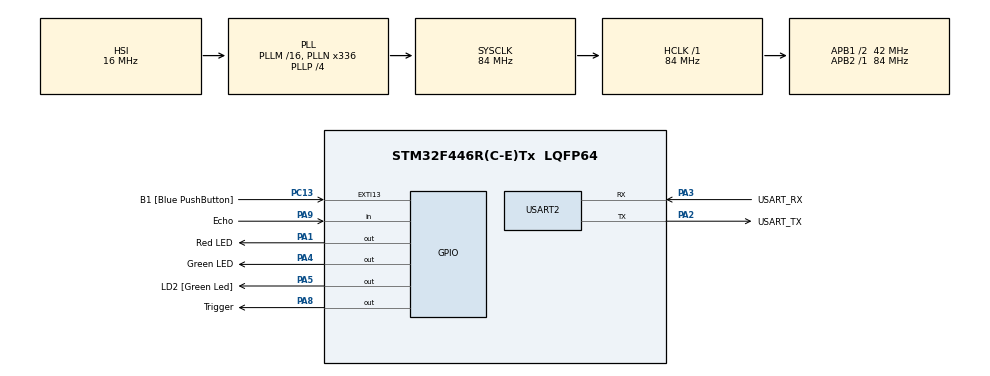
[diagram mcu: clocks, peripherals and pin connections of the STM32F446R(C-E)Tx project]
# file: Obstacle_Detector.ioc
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FREERTOS.Tasks01=defaultTask,24,128,StartDefaultTask,Default,NULL,Dynamic,NULL,NULL
FREERTOS.configUSE_NEWLIB_REENTRANT=1
Mcu.Family=STM32F4
Mcu.Name=STM32F446R(C-E)Tx
Mcu.Package=LQFP64
NVIC.PriorityGroup=NVIC_PRIORITYGROUP_4
NVIC.TIM6_DAC_IRQn=true\:15\:0\:false\:false\:true\:false\:false\:true\:true
NVIC.TimeBase=TIM6_DAC_IRQn
NVIC.TimeBaseIP=TIM6
PA1.GPIO_Label=Red LED
PA1.Signal=GPIO_Output
PA13.GPIO_Label=TMS
PA13.Mode=Serial_Wire
PA13.Signal=SYS_JTMS-SWDIO
PA14.GPIO_Label=TCK
PA14.Mode=Serial_Wire
PA14.Signal=SYS_JTCK-SWCLK
PA2.GPIO_Label=USART_TX
PA2.Mode=Asynchronous
PA2.Signal=USART2_TX
PA3.GPIO_Label=USART_RX
PA3.Mode=Asynchronous
PA3.Signal=USART2_RX
PA4.GPIO_Label=Green LED
PA4.Signal=GPIO_Output
PA5.GPIO_Label=LD2 [Green Led]
PA5.Signal=GPIO_Output
PA8.GPIO_Label=Trigger
PA8.Signal=GPIO_Output
PA9.GPIO_Label=Echo
PA9.Signal=GPIO_Input
PB3.GPIO_Label=SWO
PB3.Signal=SYS_JTDO-SWO
PC13.GPIO_Label=B1 [Blue PushButton]
PC13.GPIO_ModeDefaultEXTI=GPIO_MODE_IT_FALLING
PC13.Signal=GPXTI13
PC14-OSC32_IN.Mode=LSE-External-Oscillator
PC14-OSC32_IN.Signal=RCC_OSC32_IN
PC15-OSC32_OUT.Mode=LSE-External-Oscillator
PC15-OSC32_OUT.Signal=RCC_OSC32_OUT
PH0-OSC_IN.Mode=HSE-External-Oscillator
PH0-OSC_IN.Signal=RCC_OSC_IN
PH1-OSC_OUT.Mode=HSE-External-Oscillator
PH1-OSC_OUT.Signal=RCC_OSC_OUT
ProjectManager.HeapSize=0x200
ProjectManager.StackSize=0x400
ProjectManager.TargetToolchain=STM32CubeIDE
RCC.48MHZClocksFreq_Value=84000000
RCC.AHBFreq_Value=84000000
RCC.APB1CLKDivider=RCC_HCLK_DIV2
RCC.APB1Freq_Value=42000000
RCC.APB1TimFreq_Value=84000000
RCC.APB2Freq_Value=84000000
RCC.APB2TimFreq_Value=84000000
RCC.CortexFreq_Value=84000000
RCC.FLatency-AdvancedSettings=FLASH_LATENCY_2
RCC.HCLKFreq_Value=84000000
RCC.HSE_VALUE=8000000
RCC.HSI_VALUE=16000000
RCC.PLLN=336
RCC.PLLP=RCC_PLLP_DIV4
RCC.SYSCLKFreq_VALUE=84000000
RCC.SYSCLKSource=RCC_SYSCLKSOURCE_PLLCLK
RCC.USBFreq_Value=168000000
RCC.VCOOutputFreq_Value=336000000
USART2.VirtualMode=VM_ASYNC
VP_FREERTOS_VS_CMSIS_V2.Mode=CMSIS_V2
VP_SYS_VS_tim6.Mode=TIM6
board=NUCLEO-F446RE

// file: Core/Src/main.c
/* USER CODE BEGIN Header */
/**
  ******************************************************************************
  * @file           : main.c
  * @brief          : Main program body
  ******************************************************************************
  * @attention
  *
  * Copyright (c) 2024 STMicroelectronics.
  * All rights reserved.
  *
  * This software is licensed under terms that can be found in the LICENSE file
  * in the root directory of this software component.
  * If no LICENSE file comes with this software, it is provided AS-IS.
  *
  ******************************************************************************
  */
/* USER CODE END Header */
#include "main.h"
#include "cmsis_os.h"

/* USER CODE BEGIN Includes */
#include "FreeRTOS.h"
#include "task.h"
#include "queue.h"
/* USER CODE END Includes */

/* USER CODE BEGIN PD */
#define STACK_SIZE 128
/* USER CODE END PD */

UART_HandleTypeDef huart2;
const float preDistance = 0.0343 / 2;
/* Definitions for defaultTask */

void SystemClock_Config(void);
static void MX_GPIO_Init(void);
static void MX_USART2_UART_Init(void);

/* USER CODE BEGIN 0 */
void DWT_Init(void);
void usDelay(uint32_t us);

TaskHandle_t SRFTaskHandler;
void SRF_Task(void* arguments);

TaskHandle_t DataProcessTaskHandler;
void DataProcess_Task(void* arguments);

static QueueHandle_t dataQueue = NULL;
/* USER CODE END 0 */

int main(void)
{

  /* MCU Configuration--------------------------------------------------------*/

  /* Reset of all peripherals, Initializes the Flash interface and the Systick. */
  HAL_Init();

  /* Configure the system clock */
  SystemClock_Config();

  /* Initialize all configured peripherals */
  MX_GPIO_Init();
  MX_USART2_UART_Init();
  DWT_Init();
  /* USER CODE BEGIN 2 */
  dataQueue = xQueueCreate(2,sizeof(float));
  assert_param(dataQueue != NULL);

  xTaskCreate(SRF_Task,"SRF_Task",STACK_SIZE,NULL,1,&SRFTaskHandler);
  xTaskCreate(DataProcess_Task,"DataProcess_Task",STACK_SIZE,NULL,2,&DataProcessTaskHandler);

  vTaskStartScheduler();
  /* USER CODE END 2 */

  /* We should never get here as control is now taken by the scheduler */

  /* Infinite loop */
  while (1)
  {

  }
}

void SystemClock_Config(void)
{
  RCC_OscInitTypeDef RCC_OscInitStruct = {0};
  RCC_ClkInitTypeDef RCC_ClkInitStruct = {0};

  /** Configure the main internal regulator output voltage
  */
  __HAL_RCC_PWR_CLK_ENABLE();
  __HAL_PWR_VOLTAGESCALING_CONFIG(PWR_REGULATOR_VOLTAGE_SCALE3);

  /** Initializes the RCC Oscillators according to the specified parameters
  * in the RCC_OscInitTypeDef structure.
  */
  RCC_OscInitStruct.OscillatorType = RCC_OSCILLATORTYPE_HSI;
  RCC_OscInitStruct.HSIState = RCC_HSI_ON;
  RCC_OscInitStruct.HSICalibrationValue = RCC_HSICALIBRATION_DEFAULT;
  RCC_OscInitStruct.PLL.PLLState = RCC_PLL_ON;
  RCC_OscInitStruct.PLL.PLLSource = RCC_PLLSOURCE_HSI;
  RCC_OscInitStruct.PLL.PLLM = 16;
  RCC_OscInitStruct.PLL.PLLN = 336;
  RCC_OscInitStruct.PLL.PLLP = RCC_PLLP_DIV4;
  RCC_OscInitStruct.PLL.PLLQ = 2;
  RCC_OscInitStruct.PLL.PLLR = 2;
  if (HAL_RCC_OscConfig(&RCC_OscInitStruct) != HAL_OK)
  {
    Error_Handler();
  }

  /** Initializes the CPU, AHB and APB buses clocks
  */
  RCC_ClkInitStruct.ClockType = RCC_CLOCKTYPE_HCLK|RCC_CLOCKTYPE_SYSCLK
                              |RCC_CLOCKTYPE_PCLK1|RCC_CLOCKTYPE_PCLK2;
  RCC_ClkInitStruct.SYSCLKSource = RCC_SYSCLKSOURCE_PLLCLK;
  RCC_ClkInitStruct.AHBCLKDivider = RCC_SYSCLK_DIV1;
  RCC_ClkInitStruct.APB1CLKDivider = RCC_HCLK_DIV2;
  RCC_ClkInitStruct.APB2CLKDivider = RCC_HCLK_DIV1;

  if (HAL_RCC_ClockConfig(&RCC_ClkInitStruct, FLASH_LATENCY_2) != HAL_OK)
  {
    Error_Handler();
  }
}

static void MX_USART2_UART_Init(void)
{

  huart2.Instance = USART2;
  huart2.Init.BaudRate = 115200;
  huart2.Init.WordLength = UART_WORDLENGTH_8B;
  huart2.Init.StopBits = UART_STOPBITS_1;
  huart2.Init.Parity = UART_PARITY_NONE;
  huart2.Init.Mode = UART_MODE_TX_RX;
  huart2.Init.HwFlowCtl = UART_HWCONTROL_NONE;
  huart2.Init.OverSampling = UART_OVERSAMPLING_16;
  if (HAL_UART_Init(&huart2) != HAL_OK)
  {
    Error_Handler();
  }

}

static void MX_GPIO_Init(void)
{
  GPIO_InitTypeDef GPIO_InitStruct = {0};

  /* GPIO Ports Clock Enable */
  __HAL_RCC_GPIOC_CLK_ENABLE();
  __HAL_RCC_GPIOH_CLK_ENABLE();
  __HAL_RCC_GPIOA_CLK_ENABLE();
  __HAL_RCC_GPIOB_CLK_ENABLE();

  /*Configure GPIO pin Output Level */
  HAL_GPIO_WritePin(GPIOA, Red_LED_Pin|Green_LED_Pin|LD2_Pin|Trigger_Pin, GPIO_PIN_RESET);

  /*Configure GPIO pin : B1_Pin */
  GPIO_InitStruct.Pin = B1_Pin;
  GPIO_InitStruct.Mode = GPIO_MODE_IT_FALLING;
  GPIO_InitStruct.Pull = GPIO_NOPULL;
  HAL_GPIO_Init(B1_GPIO_Port, &GPIO_InitStruct);

  /*Configure GPIO pins : Red_LED_Pin Green_LED_Pin LD2_Pin Trigger_Pin */
  GPIO_InitStruct.Pin = Red_LED_Pin|Green_LED_Pin|LD2_Pin|Trigger_Pin;
  GPIO_InitStruct.Mode = GPIO_MODE_OUTPUT_PP;
  GPIO_InitStruct.Pull = GPIO_NOPULL;
  GPIO_InitStruct.Speed = GPIO_SPEED_FREQ_LOW;
  HAL_GPIO_Init(GPIOA, &GPIO_InitStruct);

  /*Configure GPIO pin : Echo_Pin */
  GPIO_InitStruct.Pin = Echo_Pin;
  GPIO_InitStruct.Mode = GPIO_MODE_INPUT;
  GPIO_InitStruct.Pull = GPIO_NOPULL;
  HAL_GPIO_Init(Echo_GPIO_Port, &GPIO_InitStruct);

}

/* USER CODE BEGIN 4 */
void DWT_Init(void)
{
	if(!(CoreDebug->DEMCR & CoreDebug_DEMCR_TRCENA_Msk))
	{
		CoreDebug->DEMCR |= CoreDebug_DEMCR_TRCENA_Msk;
	}

	DWT->CYCCNT = 0;

	DWT->CTRL |= DWT_CTRL_CYCCNTENA_Msk;
}

void usDelay(uint32_t us)
{
	uint32_t startTick = DWT->CYCCNT;
	uint32_t delayTicks = us * (SystemCoreClock / 1000000);
	while((DWT->CYCCNT - startTick) < delayTicks);
}

void SRF_Task(void* arguments)
{

    uint32_t time;
	float distance;
	while(1)
	{
		HAL_GPIO_WritePin(GPIOA,Trigger_Pin,GPIO_PIN_RESET);
		usDelay(3);

		HAL_GPIO_WritePin(GPIOA,Trigger_Pin,GPIO_PIN_SET);
		usDelay(10);
		HAL_GPIO_WritePin(GPIOA,Trigger_Pin,GPIO_PIN_RESET);

		while(HAL_GPIO_ReadPin(Echo_GPIO_Port, Echo_Pin) == GPIO_PIN_RESET);

		distance = 0;
		time = 0;
		while(HAL_GPIO_ReadPin(Echo_GPIO_Port, Echo_Pin) == GPIO_PIN_SET)
		{
			time++;
			usDelay(2);
		}

		distance = (time + 0.0f) * preDistance;

		xQueueSend(dataQueue, &distance, portMAX_DELAY);
		vTaskDelay(210/portTICK_PERIOD_MS);
	}
}

void DataProcess_Task(void* arguments)
{

	float distance;
	while(1)
	{
		if(xQueueReceive(dataQueue, &distance, portMAX_DELAY) == pdPASS)
		{
			if(distance > 20)
			{
				HAL_GPIO_WritePin(GPIOA, Green_LED_Pin, GPIO_PIN_SET);
				vTaskDelay(100/portTICK_PERIOD_MS);
				HAL_GPIO_WritePin(GPIOA, Green_LED_Pin, GPIO_PIN_RESET);
				vTaskDelay(100/portTICK_PERIOD_MS);
			} else {
				HAL_GPIO_WritePin(GPIOA, Red_LED_Pin, GPIO_PIN_SET);
				vTaskDelay(100/portTICK_PERIOD_MS);
				HAL_GPIO_WritePin(GPIOA, Red_LED_Pin, GPIO_PIN_RESET);
				vTaskDelay(100/portTICK_PERIOD_MS);
			}
		}
	}
}

/* USER CODE END 4 */

void HAL_TIM_PeriodElapsedCallback(TIM_HandleTypeDef *htim)
{
  if (htim->Instance == TIM6) {
    HAL_IncTick();
  }
}

void Error_Handler(void)
{
  __disable_irq();
  while (1)
  {
  }
}
